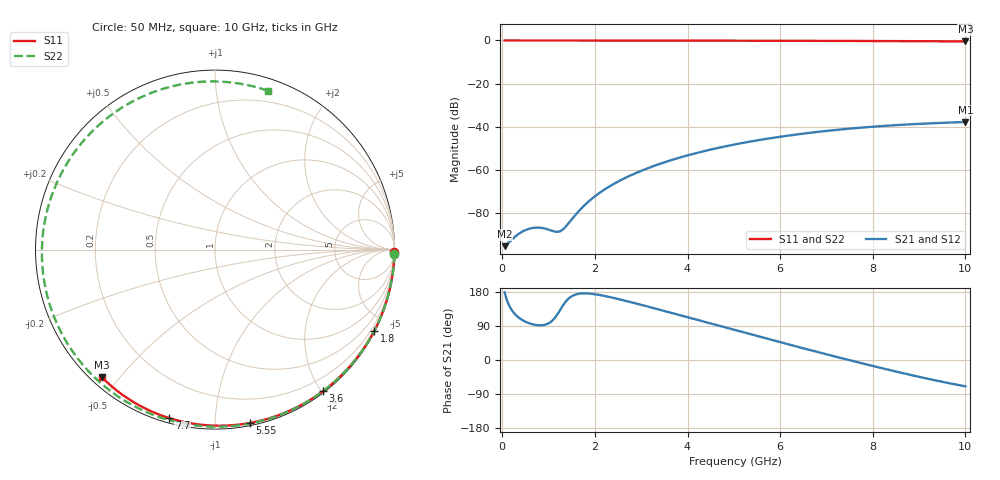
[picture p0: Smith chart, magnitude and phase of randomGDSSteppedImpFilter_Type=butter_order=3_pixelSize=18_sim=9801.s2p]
! freq	dB(S11)	phase(S11)	dB(S12)	phase(S12)
!  dB(S21)	phase(S21)	dB(S22)	phase(S22)
!S-par simulation data
#  GHz  S  DB  R 50
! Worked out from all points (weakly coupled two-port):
!   200 points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, 50 MHz to 10 GHz, reference 50 ohm
!   highest |S21| = -37.86 dB at 10 GHz (marker M1); lowest = -95.5 dB at 50 MHz (marker M2)
!   lowest |S11| = -0.4 dB at 10 GHz (marker M3), VSWR 39.15, Z = 1.54 - j22.5 ohm
!   |S11| at or under -10 dB: nowhere
!   |S22| runs from -0.6 to 0.0 dB; largest |S21 - S12| = 0
!   S11 on the Smith chart (normalised r, x): 50 MHz: open; 1.8 GHz: 0.04, -4.17; 3.6 GHz: 0.02, -2.02; 5.55 GHz: 0.02, -1.22; 7.7 GHz: 0.02, -0.77; 10 GHz: 0.03, -0.45
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0.05  -0.00 -0.8  -95.53 178.5  -95.53 178.5  -0.00 -1.6
0.8  -0.01 -12.1  -86.95 91.7  -86.95 91.7  -0.03 -24.7
1.6  -0.03 -24.0  -80.48 173.4  -80.48 173.4  -0.06 -48.7
1.75  -0.03 -26.2  -77.04 175.8  -77.04 175.8  -0.07 -53.1
1.8  -0.03 -27.0  -76.02 175.8  -76.02 175.8  -0.07 -54.6
2.1  -0.04 -31.4  -70.79 171.5  -70.79 171.5  -0.08 -63.3
2.45  -0.05 -36.4  -66.11 162.5  -66.11 162.5  -0.09 -73.2
2.9  -0.06 -42.9  -61.43 148.8  -61.43 148.8  -0.11 -85.7
3.4  -0.07 -49.9  -57.32 132.6  -57.32 132.6  -0.13 -99.3
3.6  -0.07 -52.7  -55.91 126.0  -55.91 126.0  -0.14 -104.7
4.3  -0.09 -62.3  -51.70 102.9  -51.70 102.9  -0.17 -123.0
5.05  -0.11 -72.3  -48.17 78.0  -48.17 78.0  -0.21 -142.4
5.55  -0.13 -78.7  -46.23 61.6  -46.23 61.6  -0.24 -155.3
6.15  -0.15 -86.3  -44.26 42.1  -44.26 42.1  -0.29 -170.9
6.7  -0.18 -93.1  -42.74 24.5  -42.74 24.5  -0.33 174.4
7.2  -0.21 -99.2  -41.56 8.8  -41.56 8.8  -0.37 160.6
7.7  -0.24 -105.1  -40.57 -6.7  -40.57 -6.7  -0.42 146.2
8.35  -0.29 -112.7  -39.53 -26.1  -39.53 -26.1  -0.48 126.5
8.8  -0.32 -117.9  -38.96 -38.9  -38.96 -38.9  -0.51 112.2
9.2  -0.36 -122.5  -38.54 -49.8  -38.54 -49.8  -0.55 99.0
9.6  -0.40 -127.0  -38.18 -60.0  -38.18 -60.0  -0.58 85.4
10  -0.44 -131.5  -37.86 -69.5  -37.86 -69.5  -0.60 71.5
